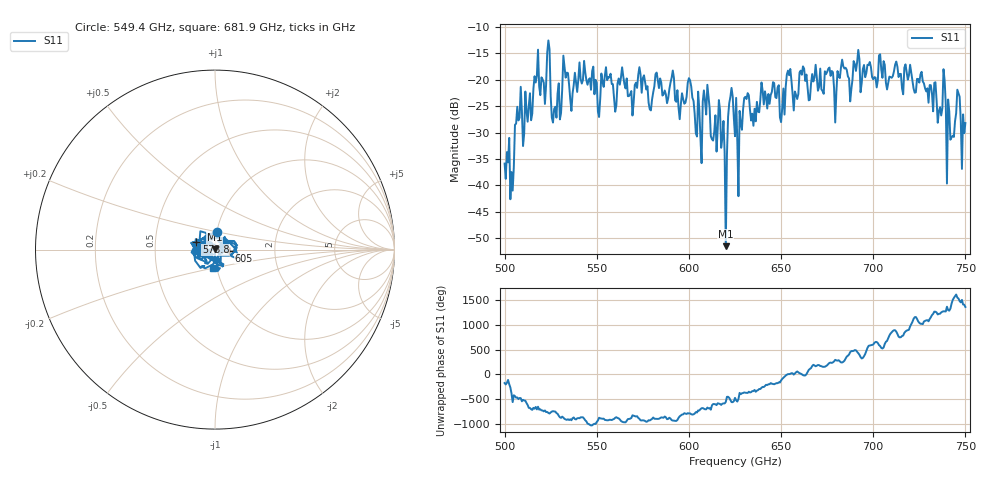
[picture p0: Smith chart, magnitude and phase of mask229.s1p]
!Created with skrf (http://scikit-rf.org).
# GHz S MA R 50.0
!freq magS11 angS11
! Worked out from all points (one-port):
!   401 points, 500 GHz to 750 GHz, reference 50 ohm
!   lowest |S11| = -51.5 dB at 620 GHz (marker M1), VSWR 1.01, Z = 49.7 + j0.0636 ohm
!   |S11| at or under -10 dB: start of sweep to end of sweep
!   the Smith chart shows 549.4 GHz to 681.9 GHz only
!   S11 on the Smith chart (normalised r, x): 549.4 GHz: 1.00, +0.20; 573.8 GHz: 0.81, +0.07; 605 GHz: 1.17, -0.01; 681.9 GHz: 0.96, -0.20
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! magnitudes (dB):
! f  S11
! 500 GHz  -35.9
! 504.4 GHz  -41.0
! 507.5 GHz  -27.7
! 511.2 GHz  -22.2
! 516.9 GHz  -20.5
! 523.8 GHz  -12.6
! 526.9 GHz  -25.5
! 531.2 GHz  -21.9
! 549.4 GHz  -20.0
! 562.5 GHz  -20.9
! 573.8 GHz  -19.0
! 593.8 GHz  -22.0
! 600.6 GHz  -20.1
! 605 GHz  -22.3
! 609.4 GHz  -26.6
! 620 GHz  -51.5
! 622.5 GHz  -23.2
! 625 GHz  -30.7
! 627.5 GHz  -25.9
! 631.2 GHz  -23.7
! 656.2 GHz  -22.7
! 681.9 GHz  -19.7
! 687.5 GHz  -24.1
! 718.8 GHz  -20.0
! 738.1 GHz  -18.0
! 741.2 GHz  -26.0
! 745.6 GHz  -21.9
! 750 GHz  -28.2
